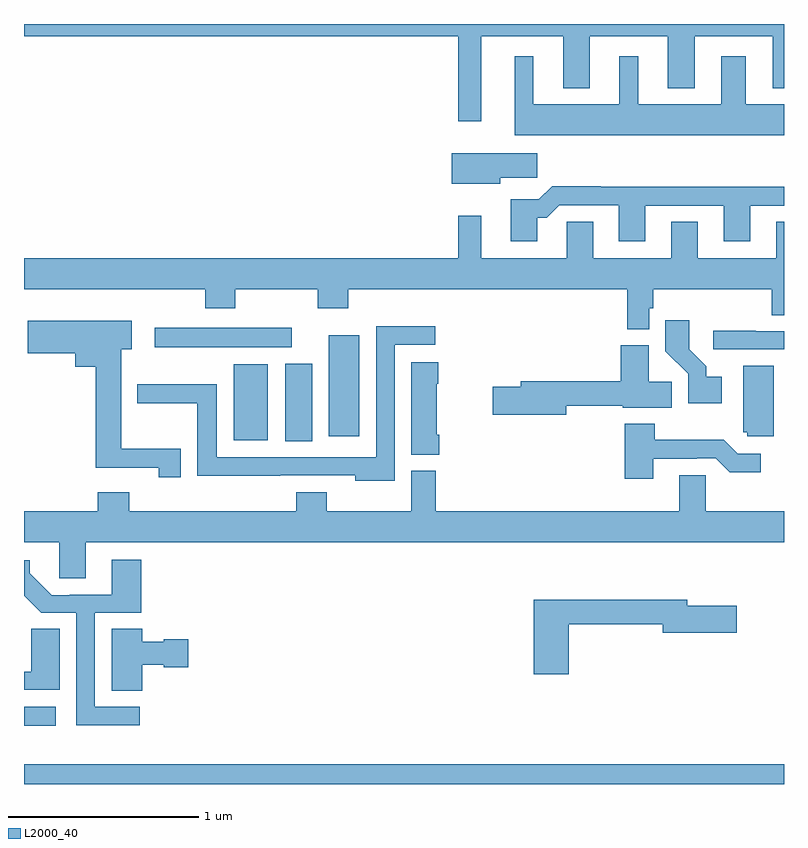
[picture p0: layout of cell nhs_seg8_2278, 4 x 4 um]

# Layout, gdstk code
import gdstk
lib = gdstk.Library(unit=1e-6, precision=1e-09)
def R(c, l, rs):  # rectangles x0, y0, x1, y1
    for r in rs: c.add(gdstk.rectangle(r[:2], r[2:], *l))
def P(c, l, *ps):  # polygons
    for p in ps: c.add(gdstk.Polygon(p, *l))
L2000_40 = (2000, 40)

nhs_seg8_2278 = lib.new_cell('nhs_seg8_2278')
R(nhs_seg8_2278, L2000_40, [(255,1109.9,259,1110.004), (255,1110.206,255.166,1110.307), (256.376,1111.705,256.516,1112.113), (256.103,1111.709,256.282,1112.11), (256.604,1111.731,256.765,1112.263), (255.687,1112.198,256.408,1112.302)])
P(nhs_seg8_2278, L2000_40, [(257.407,1113.836),(257.837,1113.836),(257.837,1113.563),(257.977,1113.563),(257.977,1113.836),(258.389,1113.836),(258.389,1113.563),(258.529,1113.563),(258.529,1113.836),(258.941,1113.836),(258.941,1113.563),(259,1113.563),(259,1113.9),(255,1113.9),(255,1113.836),(257.286,1113.836),(257.286,1113.387),(257.407,1113.387)],
  [(259,1113.478),(258.799,1113.478),(258.799,1113.73),(258.671,1113.73),(258.671,1113.478),(258.232,1113.478),(258.232,1113.73),(258.134,1113.73),(258.134,1113.478),(257.68,1113.478),(257.68,1113.73),(257.582,1113.73),(257.582,1113.314),(259,1113.314)],
  [(257.506,1113.091),(257.701,1113.091),(257.701,1113.22),(257.252,1113.22),(257.252,1113.059),(257.506,1113.059)],
  [(257.701,1112.879),(257.75,1112.879),(257.817,1112.946),(258.131,1112.946),(258.131,1112.757),(258.271,1112.757),(258.271,1112.943),(258.683,1112.943),(258.683,1112.757),(258.823,1112.757),(258.823,1112.943),(259,1112.943),(259,1113.044),(258.035,1113.044),(258.035,1113.047),(257.779,1113.047),(257.71,1112.977),(257.561,1112.977),(257.561,1112.757),(257.701,1112.757)],
  [(258.291,1112.403),(258.311,1112.403),(258.311,1112.504),(258.935,1112.504),(258.935,1112.368),(259,1112.368),(259,1112.858),(258.959,1112.858),(258.959,1112.668),(258.547,1112.668),(258.547,1112.858),(258.407,1112.858),(258.407,1112.668),(257.995,1112.668),(257.995,1112.858),(257.856,1112.858),(257.856,1112.668),(257.407,1112.668),(257.407,1112.89),(257.286,1112.89),(257.286,1112.668),(255,1112.668),(255,1112.504),(255.953,1112.504),(255.953,1112.405),(256.113,1112.405),(256.113,1112.504),(256.546,1112.504),(256.546,1112.405),(256.706,1112.405),(256.706,1112.504),(258.175,1112.504),(258.175,1112.294),(258.291,1112.294)],
  [(258.673,1112.044),(258.592,1112.044),(258.592,1112.099),(258.502,1112.189),(258.502,1112.341),(258.376,1112.341),(258.376,1112.178),(258.495,1112.059),(258.495,1111.904),(258.673,1111.904)],
  [(255.826,1111.665),(255.511,1111.665),(255.511,1112.189),(255.568,1112.189),(255.568,1112.338),(255.021,1112.338),(255.021,1112.168),(255.269,1112.168),(255.269,1112.096),(255.377,1112.096),(255.377,1111.565),(255.709,1111.565),(255.709,1111.515),(255.826,1111.515)],
  [(256.95,1112.211),(257.164,1112.211),(257.164,1112.309),(256.854,1112.309),(256.854,1111.62),(256.015,1111.62),(256.015,1112.003),(255.596,1112.003),(255.596,1111.903),(255.911,1111.903),(255.911,1111.523),(256.349,1111.523),(256.349,1111.524),(256.743,1111.524),(256.743,1111.496),(256.95,1111.496)],
  [(259,1112.283),(258.851,1112.283),(258.851,1112.286),(258.627,1112.286),(258.627,1112.187),(259,1112.187)],
  [(257.854,1111.891),(258.152,1111.891),(258.152,1111.88),(258.41,1111.88),(258.41,1112.018),(258.289,1112.018),(258.289,1112.209),(258.14,1112.209),(258.14,1112.02),(257.615,1112.02),(257.615,1111.991),(257.466,1111.991),(257.466,1111.844),(257.854,1111.844)],
  [(257.186,1111.738),(257.173,1111.738),(257.173,1112.006),(257.181,1112.006),(257.181,1112.119),(257.039,1112.119),(257.039,1111.633),(257.186,1111.633)],
  [(258.946,1112.101),(258.785,1112.101),(258.785,1111.752),(258.807,1111.752),(258.807,1111.731),(258.946,1111.731)],
  [(258.313,1111.611),(258.542,1111.611),(258.542,1111.614),(258.642,1111.614),(258.715,1111.541),(258.877,1111.541),(258.877,1111.638),(258.756,1111.638),(258.683,1111.711),(258.321,1111.711),(258.321,1111.795),(258.161,1111.795),(258.161,1111.506),(258.313,1111.506)],
  [(255.325,1111.172),(259,1111.172),(259,1111.336),(258.588,1111.336),(258.588,1111.526),(258.449,1111.526),(258.449,1111.336),(257.168,1111.336),(257.168,1111.548),(257.039,1111.548),(257.039,1111.336),(256.593,1111.336),(256.593,1111.435),(256.433,1111.435),(256.433,1111.336),(255.554,1111.336),(255.554,1111.435),(255.389,1111.435),(255.389,1111.336),(255,1111.336),(255,1111.172),(255.186,1111.172),(255.186,1110.982),(255.325,1110.982)],
  [(255.61,1110.306),(255.372,1110.306),(255.372,1110.801),(255.617,1110.801),(255.617,1111.081),(255.461,1111.081),(255.461,1110.897),(255.241,1110.897),(255.241,1110.894),(255.147,1110.894),(255.031,1111.01),(255.031,1111.078),(255,1111.078),(255,1110.891),(255.002,1110.891),(255.092,1110.801),(255.276,1110.801),(255.276,1110.209),(255.61,1110.209)],
  [(257.867,1110.742),(258.362,1110.742),(258.362,1110.695),(258.751,1110.695),(258.751,1110.837),(258.49,1110.837),(258.49,1110.871),(257.684,1110.871),(257.684,1110.477),(257.867,1110.477)],
  [(255.187,1110.716),(255.038,1110.716),(255.038,1110.492),(255,1110.492),(255,1110.396),(255.187,1110.396)],
  [(255.622,1110.527),(255.735,1110.527),(255.735,1110.515),(255.865,1110.515),(255.865,1110.662),(255.735,1110.662),(255.735,1110.649),(255.622,1110.649),(255.622,1110.716),(255.461,1110.716),(255.461,1110.391),(255.622,1110.391)])

lib.write_gds('nhs_seg8_2278.gds')
